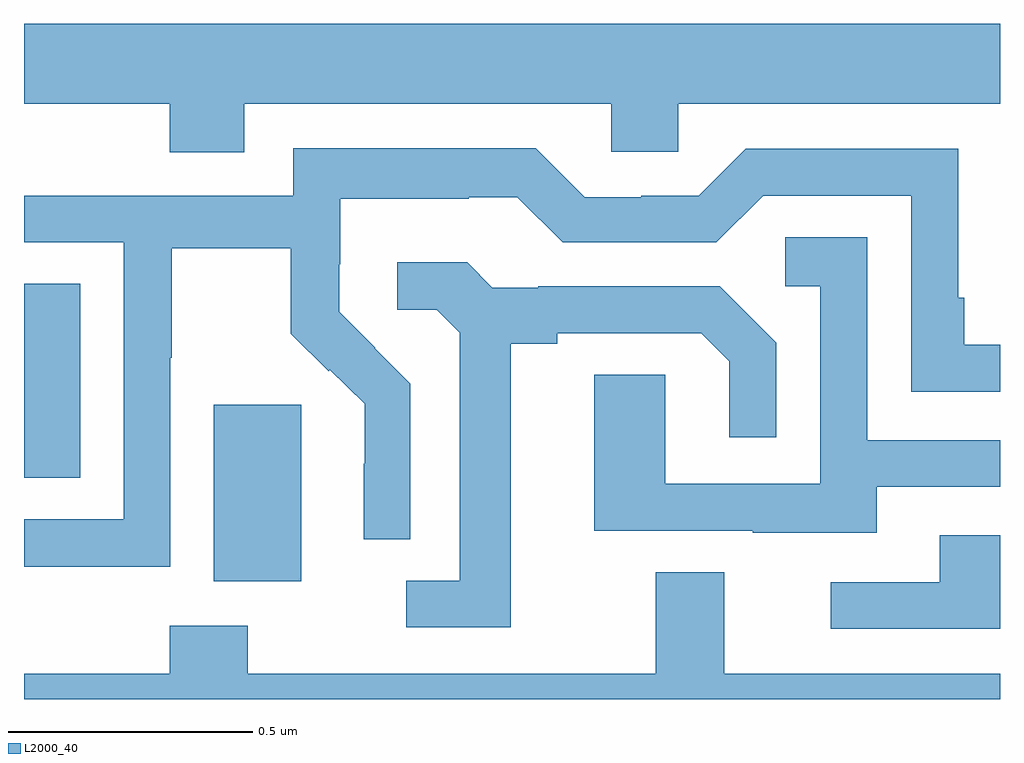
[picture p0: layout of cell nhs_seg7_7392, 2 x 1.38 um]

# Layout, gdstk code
import gdstk
lib = gdstk.Library(unit=1e-6, precision=1e-09)
def R(c, l, rs):  # rectangles x0, y0, x1, y1
    for r in rs: c.add(gdstk.rectangle(r[:2], r[2:], *l))
def P(c, l, *ps):  # polygons
    for p in ps: c.add(gdstk.Polygon(p, *l))
L2000_40 = (2000, 40)

nhs_seg7_7392 = lib.new_cell('nhs_seg7_7392')
R(nhs_seg7_7392, L2000_40, [(210.389,1062.242,210.568,1062.603), (210,1062.454,210.115,1062.851)])
P(nhs_seg7_7392, L2000_40, [(210.451,1063.22),(211.203,1063.22),(211.203,1063.122),(211.341,1063.122),(211.341,1063.22),(212,1063.22),(212,1063.384),(210,1063.384),(210,1063.22),(210.299,1063.22),(210.299,1063.121),(210.451,1063.121)],
  [(210.3,1062.7),(210.303,1062.7),(210.303,1062.924),(210.547,1062.924),(210.547,1062.749),(210.624,1062.672),(210.627,1062.675),(210.698,1062.605),(210.698,1062.482),(210.696,1062.482),(210.696,1062.328),(210.792,1062.328),(210.792,1062.646),(210.719,1062.719),(210.72,1062.72),(210.646,1062.794),(210.646,1062.891),(210.648,1062.891),(210.648,1063.025),(210.911,1063.025),(210.911,1063.029),(211.011,1063.029),(211.104,1062.936),(211.419,1062.936),(211.515,1063.032),(211.818,1063.032),(211.818,1062.63),(212,1062.63),(212,1062.726),(211.927,1062.726),(211.927,1062.823),(211.914,1062.823),(211.914,1063.128),(211.479,1063.128),(211.383,1063.032),(211.265,1063.032),(211.265,1063.029),(211.149,1063.029),(211.049,1063.129),(210.552,1063.129),(210.552,1063.032),(210,1063.032),(210,1062.936),(210.204,1062.936),(210.204,1062.369),(210,1062.369),(210,1062.271),(210.3,1062.271)],
  [(211.747,1062.435),(212,1062.435),(212,1062.531),(211.728,1062.531),(211.728,1062.947),(211.56,1062.947),(211.56,1062.846),(211.632,1062.846),(211.632,1062.441),(211.314,1062.441),(211.314,1062.665),(211.169,1062.665),(211.169,1062.345),(211.493,1062.345),(211.493,1062.341),(211.747,1062.341)],
  [(210.997,1062.728),(211.093,1062.728),(211.093,1062.75),(211.388,1062.75),(211.445,1062.693),(211.445,1062.537),(211.542,1062.537),(211.542,1062.73),(211.426,1062.846),(211.054,1062.846),(211.054,1062.843),(210.96,1062.843),(210.908,1062.895),(210.765,1062.895),(210.765,1062.798),(210.846,1062.798),(210.893,1062.751),(210.893,1062.243),(210.783,1062.243),(210.783,1062.147),(210.997,1062.147)],
  [(212,1062.336),(211.877,1062.336),(211.877,1062.24),(211.653,1062.24),(211.653,1062.144),(212,1062.144)],
  [(212,1062.052),(211.435,1062.052),(211.435,1062.26),(211.295,1062.26),(211.295,1062.052),(210.459,1062.052),(210.459,1062.151),(210.299,1062.151),(210.299,1062.052),(210,1062.052),(210,1062),(212,1062)])

lib.write_gds('nhs_seg7_7392.gds')
